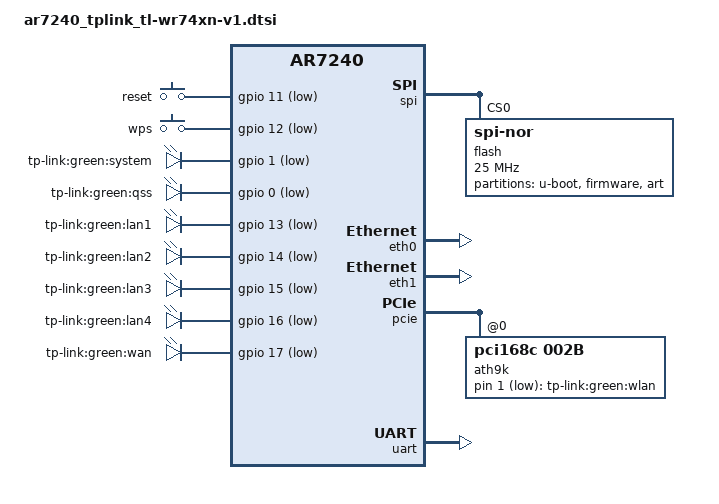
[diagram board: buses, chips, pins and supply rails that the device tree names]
// SPDX-License-Identifier: GPL-2.0-or-later OR MIT

#include <dt-bindings/gpio/gpio.h>
#include <dt-bindings/input/input.h>

#include "ar7240.dtsi"

/ {
	aliases {
		led-boot = &led_system;
		led-failsafe = &led_system;
		led-running = &led_system;
		led-upgrade = &led_system;
	};

	keys {
		compatible = "gpio-keys-polled";
		poll-interval = <20>;

		reset {
			label = "reset";
			linux,code = <KEY_RESTART>;
			gpios = <&gpio 11 GPIO_ACTIVE_LOW>;
			debounce-interval = <60>;
		};

		wps {
			label = "wps";
			linux,code = <KEY_WPS_BUTTON>;
			gpios = <&gpio 12 GPIO_ACTIVE_LOW>;
			debounce-interval = <60>;
		};
	};

	gpio-leds {
		compatible = "gpio-leds";
		pinctrl-names = "default";
		pinctrl-0 = <&switch_led_pins>;

		led_system: system {
			label = "tp-link:green:system";
			gpios = <&gpio 1 GPIO_ACTIVE_LOW>;
		};

		qss {
			label = "tp-link:green:qss";
			gpios = <&gpio 0 GPIO_ACTIVE_LOW>;
		};

		lan1 {
			label = "tp-link:green:lan1";
			gpios = <&gpio 13 GPIO_ACTIVE_LOW>;
		};

		lan2 {
			label = "tp-link:green:lan2";
			gpios = <&gpio 14 GPIO_ACTIVE_LOW>;
		};

		lan3 {
			label = "tp-link:green:lan3";
			gpios = <&gpio 15 GPIO_ACTIVE_LOW>;
		};

		lan4 {
			label = "tp-link:green:lan4";
			gpios = <&gpio 16 GPIO_ACTIVE_LOW>;
		};

		wan {
			label = "tp-link:green:wan";
			gpios = <&gpio 17 GPIO_ACTIVE_LOW>;
		};
	};

	ath9k-leds {
		compatible = "gpio-leds";

		wlan {
			label = "tp-link:green:wlan";
			gpios = <&ath9k 1 GPIO_ACTIVE_LOW>;
			linux,default-trigger = "phy0tpt";
		};
	};
};

&spi {
	status = "okay";
	num-cs = <1>;

	flash@0 {
		compatible = "jedec,spi-nor";
		reg = <0>;
		spi-max-frequency = <25000000>;

		partitions {
			compatible = "fixed-partitions";
			#address-cells = <1>;
			#size-cells = <1>;

			uboot: partition@0 {
				reg = <0x0 0x20000>;
				label = "u-boot";
				read-only;
			};

			firmware: partition@20000 {
				compatible = "tplink,firmware";
				reg = <0x20000 0x3d0000>;
				label = "firmware";
			};

			art: partition@3f0000 {
				reg = <0x3f0000 0x10000>;
				label = "art";
				read-only;
			};
		};
	};
};

&eth0 {
	status = "okay";

	mtd-mac-address = <&uboot 0x1fc00>;
	mtd-mac-address-increment = <(-1)>;
};

&eth1 {
	status = "okay";

	mtd-mac-address = <&uboot 0x1fc00>;
	mtd-mac-address-increment = <1>;
};

&pcie {
	status = "okay";

	ath9k: wifi@0,0 {
		compatible = "pci168c,002b";
		reg = <0x0000 0 0 0 0>;
		qca,no-eeprom;
		mtd-mac-address = <&uboot 0x1fc00>;
		#gpio-cells = <2>;
		gpio-controller;
	};
};

&pinmux {
	switch_led_pins: pinmux_switch_led_pins {
		pinctrl-single,bits = <0x0 0x0 0xf8>;
	};
};

&uart {
	status = "okay";
};
